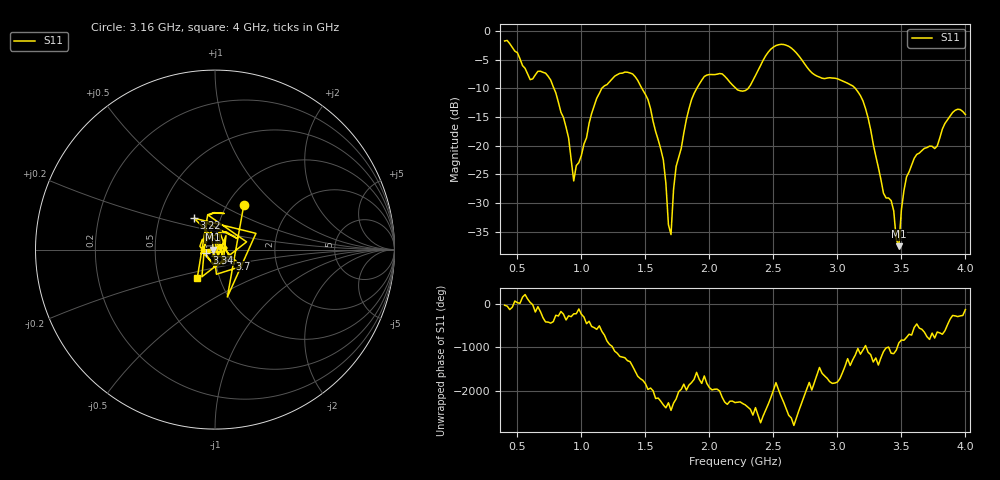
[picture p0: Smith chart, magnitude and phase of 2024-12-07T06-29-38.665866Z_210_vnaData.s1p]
!Created with skrf (http://scikit-rf.org).
# Hz S RI R 50.0
!freq ReS11 ImS11
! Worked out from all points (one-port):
!   181 points, 400 MHz to 4 GHz, reference 50 ohm
!   lowest |S11| = -37.5 dB at 3.48 GHz (marker M1), VSWR 1.03, Z = 48.7 - j0.103 ohm
!   |S11| at or under -10 dB: 785.1 MHz to 1.159 GHz (374.3 MHz wide, 38.5 % of centre); 1.472 GHz to 1.902 GHz (429.2 MHz wide, 25.4 % of centre); 3.14 GHz to end of sweep (the widest 3 of 4)
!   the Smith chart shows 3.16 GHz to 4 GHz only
!   S11 on the Smith chart (normalised r, x): 3.16 GHz: 1.19, +0.65; 3.22 GHz: 0.75, +0.27; 3.34 GHz: 0.91, -0.03; 3.7 GHz: 1.17, -0.12; 4 GHz: 0.78, -0.26
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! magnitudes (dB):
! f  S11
! 400 MHz  -1.8
! 600 MHz  -8.5
! 740 MHz  -7.9
! 860 MHz  -15.1
! 940 MHz  -26.1
! 1.12 GHz  -11.7
! 1.3 GHz  -7.4
! 1.52 GHz  -12.0
! 1.64 GHz  -22.5
! 1.68 GHz  -33.8
! 1.7 GHz  -35.5
! 1.72 GHz  -27.6
! 1.76 GHz  -22.0
! 1.86 GHz  -12.0
! 1.96 GHz  -7.9
! 2.2 GHz  -9.9
! 2.5 GHz  -2.8
! 2.66 GHz  -3.4
! 3.1 GHz  -9.4
! 3.16 GHz  -10.6
! 3.22 GHz  -13.6
! 3.34 GHz  -25.9
! 3.42 GHz  -29.6
! 3.48 GHz  -37.5
! 3.52 GHz  -27.8
! 3.56 GHz  -24.6
! 3.7 GHz  -20.3
! 4 GHz  -14.6
